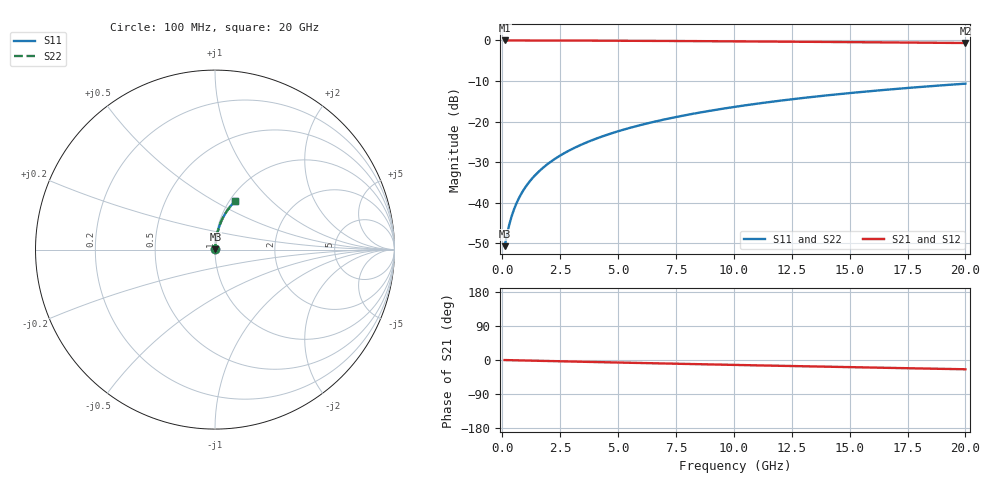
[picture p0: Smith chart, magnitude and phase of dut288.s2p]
! Touchstone file exported from HFSS 2024.1.0
!  File:  C:/UserFiles/LocalFiles/RDL_TSV_Batchsim/temp_RDL_bottom_288_1778703257.aedt
!  Generated:  04:16:54 AM May 14, 2026
!  Design:  RDL_bottom
!  Project:  temp_RDL_bottom_288_1778703257
!  Setup:  Setup1
!  Solution:  Sweep
! Variables:
!  dtsv = 10.80580581um
!  hbump = 3um
!  htsv = 97.61um
!  ldown = 307.46um
!  lrdl = 100um
!  p = 40
!  p1 = 40.66um
!  rhole = 1um
!  t = 450um
!  tdown = 3.9um
!  trdl = 3.915915916um
!  wdown = 12um
!  wrdl = 20um
# GHz S MA R 50.000000
! Terminal data exported
! Port[1] = RDL1_T1
! Port[2] = RDL1_T2
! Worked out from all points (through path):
!   200 points, 100 MHz to 20 GHz, reference 50 ohm
!   highest |S21| = -0.02 dB at 100 MHz (marker M1); lowest = -0.6 dB at 20 GHz (marker M2)
!   group delay of S21, straight-line fit = 3.39 ps
!   lowest |S11| = -50.7 dB at 100 MHz (marker M3), VSWR 1.01, Z = 50.2 + j0.159 ohm
!   |S11| at or under -10 dB: start of sweep to end of sweep
!   |S22| runs from -50.7 to -10.7 dB; largest |S21 - S12| = 3.1e-15
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0.1  0.002906 32.9  0.9976 -0.1  0.9976 -0.1  0.002906 32.9
! Gamma 0 0 0 0
! Port Impedance 50 0 50 0
0.2  0.004008 51.7  0.9975 -0.3  0.9975 -0.3  0.004008 51.7
0.3  0.005334 61.5  0.9975 -0.4  0.9975 -0.4  0.005334 61.5
0.4  0.006739 67.2  0.9974 -0.6  0.9974 -0.6  0.006739 67.2
0.5  0.008175 70.9  0.9973 -0.7  0.9973 -0.7  0.008175 70.9
0.6  0.009629 73.5  0.9972 -0.8  0.9972 -0.8  0.009629 73.5
0.8  0.01257 76.9  0.9971 -1.1  0.9971 -1.1  0.01257 76.9
1.1  0.01702 79.7  0.9969 -1.5  0.9969 -1.5  0.01702 79.7
1.5  0.02301 81.6  0.9965 -2.0  0.9965 -2.0  0.02301 81.6
1.8  0.02751 82.4  0.9962 -2.4  0.9962 -2.4  0.02751 82.4
2.1  0.03203 82.8  0.9958 -2.8  0.9958 -2.8  0.03203 82.8
2.7  0.04107 83.3  0.9949 -3.7  0.9949 -3.7  0.04107 83.3
3.5  0.05314 83.3  0.9935 -4.7  0.9935 -4.7  0.05314 83.3
4.2  0.0637 83.1  0.9919 -5.6  0.9919 -5.6  0.0637 83.1
5  0.07578 82.6  0.9899 -6.7  0.9899 -6.7  0.07578 82.6
5.9  0.08936 82.0  0.9874 -7.8  0.9874 -7.8  0.08936 82.0
6.8  0.1029 81.3  0.9846 -9.0  0.9846 -9.0  0.1029 81.3
8.3  0.1255 79.9  0.9794 -10.9  0.9794 -10.9  0.1255 79.9
10.1  0.1524 78.1  0.9727 -13.1  0.9727 -13.1  0.1524 78.1
13.4  0.201 74.7  0.959 -17.0  0.959 -17.0  0.201 74.7
16.7  0.2479 71.1  0.944 -20.8  0.944 -20.8  0.2479 71.1
20  0.2927 67.5  0.9279 -24.5  0.9279 -24.5  0.2927 67.5
